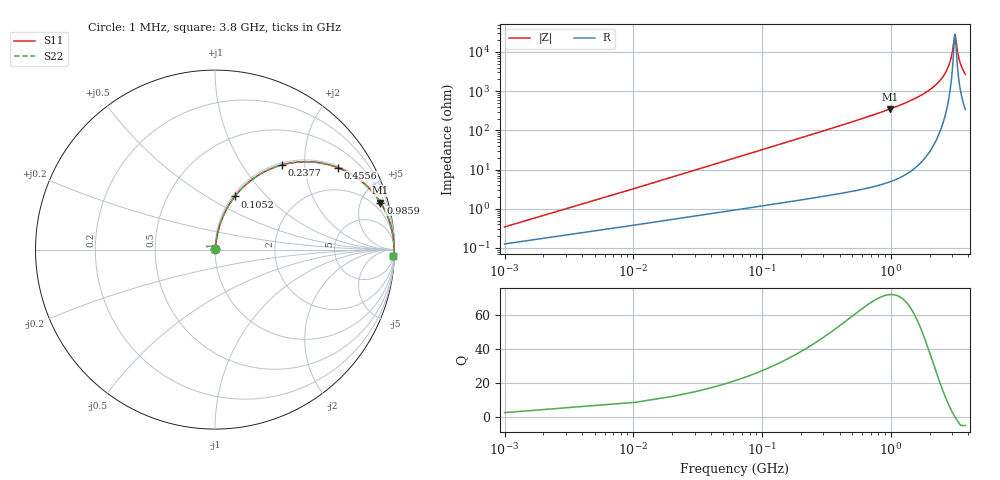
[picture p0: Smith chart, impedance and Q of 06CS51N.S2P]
! Coilcraft 0603CS-51N Chip Inductor
! 1 August 2002
# MHZ S MA R 50
!Freq  MagS11  AngS11  MagS21  AngS21  MagS12  AngS12  MagS22  AngS22
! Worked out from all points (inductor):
!   403 points, 1 MHz to 3.8 GHz, reference 50 ohm
!   read as one part in series: L = 51 nH near 19.94 MHz
!   highest Q = 71.8 at 985.9 MHz (marker M1), where L = 56.5 nH
!   self-resonance near 3.145 GHz
!   S11 on the Smith chart (normalised r, x): 1 MHz: 1.00, +0.01; 105.2 MHz: 1.02, +0.67; 237.8 MHz: 1.04, +1.53; 455.6 MHz: 1.05, +2.98; 985.9 MHz: 1.10, +7.00; 3.8 GHz: 8, -53
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1  0.003443 68.2  0.9987 -0.2  0.9987 -0.2  0.003443 68.2
29.41  0.09346 80.7  0.9893 -5.3  0.9893 -5.3  0.09346 80.7
38.88  0.123 79.6  0.9851 -7.1  0.9851 -7.1  0.123 79.6
67.29  0.2091 75.4  0.9685 -12.1  0.9685 -12.1  0.2091 75.4
105.17  0.3164 69.5  0.9373 -18.4  0.9373 -18.4  0.3164 69.5
161.99  0.4564 61.2  0.8766 -27.1  0.8766 -27.1  0.4564 61.2
237.75  0.6014 51.7  0.7847 -37.0  0.7847 -37.0  0.6014 51.7
455.56  0.8238 33.5  0.5525 -55.5  0.5525 -55.5  0.8238 33.5
635.49  0.8993 25.1  0.4236 -64.1  0.4236 -64.1  0.8993 25.1
985.88  0.958 15.9  0.2736 -73.3  0.2736 -73.3  0.958 15.9
1269.98  0.9767 11.6  0.201 -77.6  0.201 -77.6  0.9767 11.6
1904.47  0.9922 5.9  0.1033 -82.7  0.1033 -82.7  0.9922 5.9
2538.96  0.9963 2.5  0.04312 -83.8  0.04312 -83.8  0.9963 2.5
2737.83  0.9966 1.6  0.02809 -82.3  0.02809 -82.3  0.9966 1.6
2889.35  0.9967 1.0  0.01753 -78.5  0.01753 -78.5  0.9967 1.0
3012.46  0.9966 0.5  0.009602 -69.0  0.009602 -69.0  0.9966 0.5
3126.1  0.9965 0.1  0.003915 -25.5  0.003915 -25.5  0.9965 0.1
3173.45  0.9964 -0.1  0.003821 19.3  0.003821 19.3  0.9964 -0.1
3296.56  0.9962 -0.5  0.009558 66.1  0.009558 66.1  0.9962 -0.5
3410.2  0.9959 -0.9  0.01596 74.6  0.01596 74.6  0.9959 -0.9
3580.66  0.9954 -1.4  0.02546 78.8  0.02546 78.8  0.9954 -1.4
3800  0.9946 -2.1  0.03721 80.6  0.03721 80.6  0.9946 -2.1
